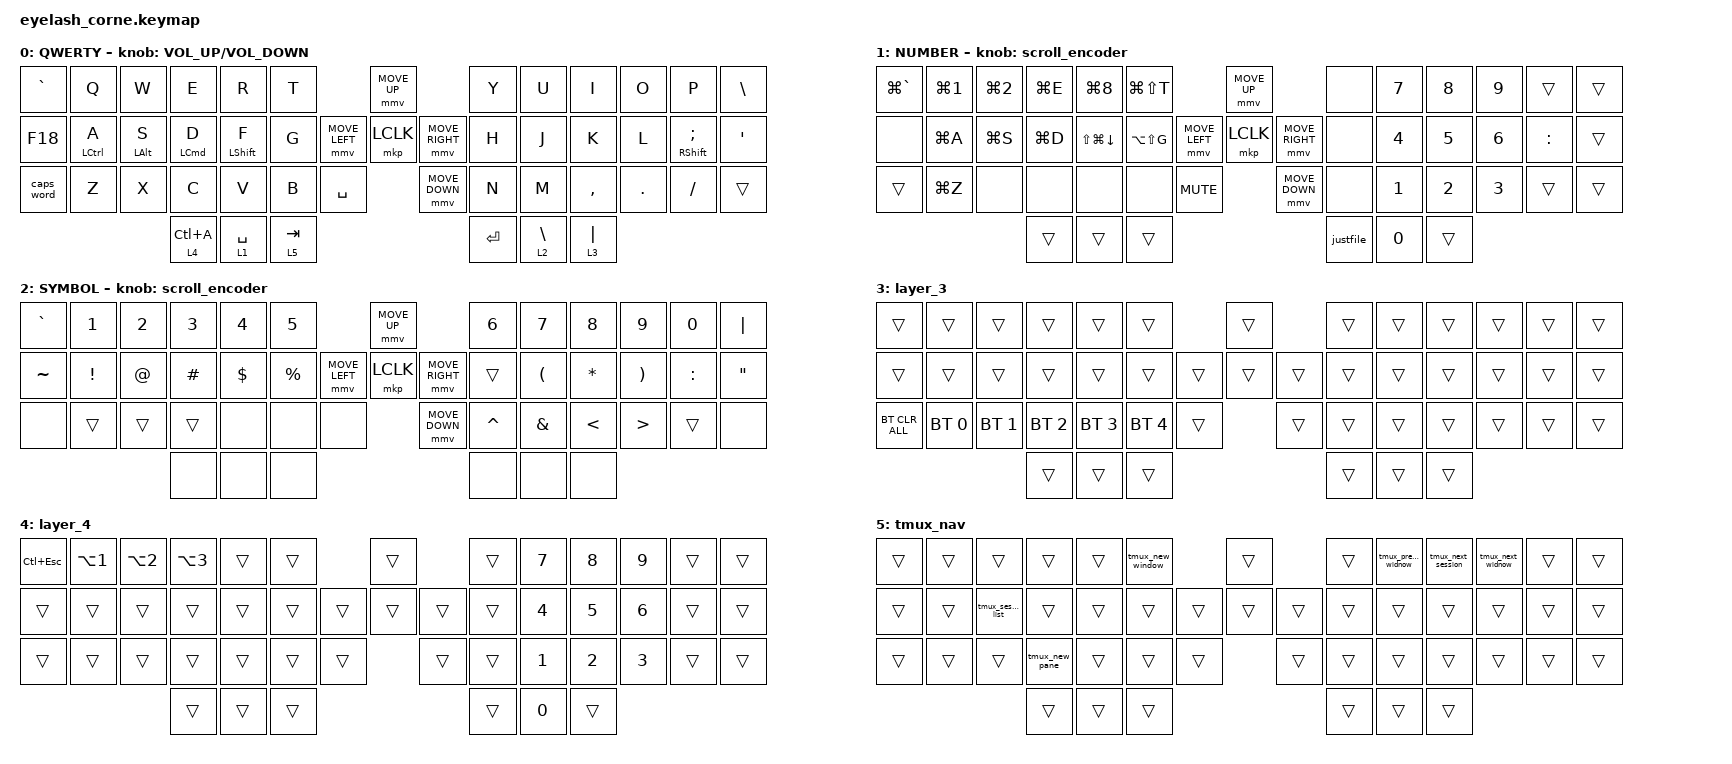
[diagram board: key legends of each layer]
#define ZMK_POINTING_DEFAULT_MOVE_VAL 1200  // 600
#define ZMK_POINTING_DEFAULT_SCRL_VAL 25   // 10

#include <input/processors.dtsi>
#include <zephyr/dt-bindings/input/input-event-codes.h>
#include <behaviors.dtsi>
#include <dt-bindings/zmk/bt.h>
#include <dt-bindings/zmk/keys.h>
#include <dt-bindings/zmk/pointing.h>
#include <dt-bindings/zmk/rgb.h>

&mmv_input_listener { input-processors = <&zip_xy_scaler 2 1>; };

&msc_input_listener { input-processors = <&zip_scroll_scaler 2 1>; };

&msc {
    acceleration-exponent = <1>;      // 0
    time-to-max-speed-ms = <100>;       // 300
    delay-ms = <0>;                   // 0
};

&mmv {
    time-to-max-speed-ms = <500>;
    acceleration-exponent = <1>;
    trigger-period-ms = <16>;
};

&soft_off { hold-time-ms = <2000>; };

/ {
    behaviors {
        td0: td0 {
            compatible = "zmk,behavior-tap-dance";
            display-name = "Shift/Caps Lock Tap Dance";
            #binding-cells = <0>;
            bindings = <&kp LEFT_SHIFT>, <&kp CAPS>;
        };

        homerow: homerow {
            compatible = "zmk,behavior-hold-tap";
            label = "HOMEROW";
            bindings = <&kp>, <&kp>;

            #binding-cells = <2>;
            tapping-term-ms = <180>;
            quick-tap-ms = <130>;
            flavor = "tap-preferred";
        };

        OSM_shift: OSM_shift {
            compatible = "zmk,behavior-sticky-key";
            label = "OSM_SHIFT";
            bindings = <&kp>;
            #binding-cells = <1>;
            release-after-ms = <200>;
            quick-release;
        };

        hold_tab: hold_tab {
            compatible = "zmk,behavior-hold-tap";
            label = "HOLD_TAB";
            bindings = <&kp>, <&caps_word>;

            #binding-cells = <2>;
            tapping-term-ms = <200>;
        };

        homerow_RShift: homerow_RShift {
            compatible = "zmk,behavior-hold-tap";
            label = "HOMEROW_RSHIFT";
            bindings = <&kp>, <&kp>;

            #binding-cells = <2>;
            tapping-term-ms = <115>;
        };

        LT_LANG_FAST: LT_LANG_FAST {
            compatible = "zmk,behavior-hold-tap";
            label = "LT_LANG_FAST";
            bindings = <&mo>, <&kp>;

            #binding-cells = <2>;
            tapping-term-ms = <160>;
            quick-tap-ms = <120>;
            flavor = "hold-preferred";
        };

        homerow_LShift: homerow_LShift {
            compatible = "zmk,behavior-hold-tap";
            label = "HOMEROW_LSHIFT";
            bindings = <&kp>, <&kp>;

            #binding-cells = <2>;
            tapping-term-ms = <145>;
            flavor = "tap-preferred";
        };

        homerow_LCtrl: homerow_LCtrl {
            compatible = "zmk,behavior-hold-tap";
            label = "HOMEROW_LCTRL";
            bindings = <&kp>, <&kp>;

            #binding-cells = <2>;
            tapping-term-ms = <200>;
            flavor = "tap-preferred";
            quick-tap-ms = <130>;
        };

        Lshift_caps_word: Lshift_caps_word {
            compatible = "zmk,behavior-hold-tap";
            label = "LSHIFT_CAPS_WORD";
            bindings = <&kp>, <&caps_word>;

            #binding-cells = <2>;
            tapping-term-ms = <160>;
        };

        /* 더블탭일 때만 Sticky Shift 토글, 싱글탭은 무시 */
        // 탭: td_shift_latch, 홀드: LSHIFT  ← 한 묶음 안에 두 개!
    };

    rgb_encoder: rgb_encoder {
        compatible = "zmk,behavior-sensor-rotate";
        #sensor-binding-cells = <0>;
        bindings = <&rgb_ug RGB_BRI>, <&rgb_ug RGB_BRD>;
    };

    scroll_encoder: scroll_encoder {
        compatible = "zmk,behavior-sensor-rotate";
        #sensor-binding-cells = <0>;
        bindings = <&msc SCRL_DOWN>, <&msc SCRL_UP>;

        tap-ms = <100>;
    };

    combos {
        compatible = "zmk,combos";

        Backspace {
            bindings = <&kp BACKSPACE>;
            key-positions = <23 24>;
        };

        minus {
            bindings = <&kp MINUS>;
            key-positions = <23 9>;
        };

        equal {
            bindings = <&kp EQUAL>;
            key-positions = <23 10>;
        };

        cut {
            bindings = <&kp LG(X)>;
            key-positions = <29 30>;
        };

        Copy {
            bindings = <&kp LG(C)>;
            key-positions = <30 31>;
        };

        Past {
            bindings = <&kp LG(V)>;
            key-positions = <31 32>;
        };

        left_parenthesis {
            bindings = <&kp LEFT_BRACKET>;
            key-positions = <8 9>;
            timeout-ms = <25>;
        };

        right_parenthesis {
            bindings = <&kp RIGHT_BRACKET>;
            key-positions = <9 10>;
            timeout-ms = <20>;
        };

        Question_mark {
            bindings = <&kp QUESTION>;
            key-positions = <38 39>;
        };

        Esc {
            bindings = <&kp ESCAPE>;
            key-positions = <24 25>;
            layers = <0>;
        };

        prefix+a {
            bindings = <&kp LC(A)>;
            key-positions = <14 15>;
        };

        Quote {
            bindings = <&kp DOUBLE_QUOTES>;
            key-positions = <25 26>;
        };

        Underscore {
            bindings = <&kp UNDERSCORE>;
            key-positions = <37 24>;
        };

        plus {
            bindings = <&kp PLUS>;
            key-positions = <23 25>;
        };

        f18 {
            bindings = <&kp F18>;
            key-positions = <37 38>;
        };
    };

    macros {
        tmux_next_widnow: tmux_next_widnow {
            compatible = "zmk,behavior-macro";
            #binding-cells = <0>;
            bindings = <&kp LC(A) &kp N>;
            label = "TMUX_NEXT_WIDNOW";
        };

        tmux_previous_widnow: tmux_previous_widnow {
            compatible = "zmk,behavior-macro";
            #binding-cells = <0>;
            bindings = <&kp LC(A) &kp P>;
            label = "TMUX_PREVIOUS_WIDNOW";
        };

        tmux_session_list: tmux_session_list {
            compatible = "zmk,behavior-macro";
            #binding-cells = <0>;
            bindings = <&kp LC(A) &kp S>;
            label = "TMUX_SESSION_LIST";
        };

        justfile: justfile {
            compatible = "zmk,behavior-macro";
            #binding-cells = <0>;
            bindings = <&kp J &kp ENTER>;
            label = "JUSTFILE";
        };

        tmux_new_pane: tmux_new_pane {
            compatible = "zmk,behavior-macro";
            #binding-cells = <0>;
            bindings = <&kp LC(A) &kp C>;
            label = "TMUX_NEW_PANE";
        };

        tmux_new_window: tmux_new_window {
            compatible = "zmk,behavior-macro";
            #binding-cells = <0>;
            bindings = <&kp LC(A) &kp T>;
            label = "TMUX_NEW_WINDOW";
        };

        tmux_next_session: tmux_next_session {
            compatible = "zmk,behavior-macro";
            #binding-cells = <0>;
            bindings = <&kp LC(A) &kp RIGHT_PARENTHESIS>;
            label = "TMUX_NEXT_SESSION";
        };
    };

    keymap {
        compatible = "zmk,keymap";

        default_layer {
            display-name = "QWERTY";
            bindings = <
&kp GRAVE   &kp Q                   &kp W                &kp E                    &kp R                         &kp T                                   &mmv MOVE_UP                     &kp Y      &kp U                      &kp I       &kp O    &kp P                                  &kp BACKSLASH
&kp F18     &homerow_LCtrl LCTRL A  &homerow LEFT_ALT S  &homerow LEFT_COMMAND D  &homerow_LShift LEFT_SHIFT F  &kp G                   &mmv MOVE_LEFT  &mkp LCLK       &mmv MOVE_RIGHT  &kp H      &kp J                      &kp K       &kp L    &homerow_RShift RIGHT_SHIFT SEMICOLON  &kp SQT
&caps_word  &kp Z                   &kp X                &kp C                    &kp V                         &kp B      &kp SPACE                    &mmv MOVE_DOWN                   &kp N      &kp M                      &kp COMMA   &kp DOT  &kp FSLH                               &trans
                                                         &lt 4 LC(A)              &lt 1 SPACE                   &lt 5 TAB                                                                &kp ENTER  &LT_LANG_FAST 2 BACKSLASH  &lt 3 PIPE
            >;

            sensor-bindings = <&inc_dec_kp C_VOLUME_UP C_VOLUME_DOWN>;
        };

        lower_layer {
            display-name = "NUMBER";
            bindings = <
&kp LG(GRAVE)  &kp LG(NUMBER_1)  &kp LG(N2)  &kp LG(E)  &kp LG(NUMBER_8)        &kp LG(LS(T))                                &mmv MOVE_UP                     &none      &kp NUMBER_7  &kp NUMBER_8  &kp NUMBER_9  &trans     &trans
&none          &kp LG(A)         &kp LG(S)   &kp LG(D)  &kp LS(LG(DOWN_ARROW))  &kp LA(LS(G))                &mmv MOVE_LEFT  &mkp LCLK       &mmv MOVE_RIGHT  &none      &kp NUMBER_4  &kp NUMBER_5  &kp NUMBER_6  &kp COLON  &trans
&trans         &kp LG(Z)         &none       &none      &none                   &none          &kp C_MUTE                    &mmv MOVE_DOWN                   &none      &kp NUMBER_1  &kp NUMBER_2  &kp NUMBER_3  &trans     &trans
                                             &trans     &trans                  &trans                                                                        &justfile  &kp N0        &trans
            >;

            sensor-bindings = <&scroll_encoder>;
        };

        raise_layer {
            display-name = "SYMBOL";
            bindings = <
&kp GRAVE  &kp NUMBER_1     &kp NUMBER_2  &kp NUMBER_3  &kp NUMBER_4  &kp N5                                &mmv MOVE_UP                     &kp NUMBER_6  &kp N7                &kp N8         &kp N9                 &kp NUMBER_0  &kp PIPE
&kp TILDE  &kp EXCLAMATION  &kp AT_SIGN   &kp HASH      &kp DOLLAR    &kp PERCENT           &mmv MOVE_LEFT  &mkp LCLK       &mmv MOVE_RIGHT  &trans        &kp LEFT_PARENTHESIS  &kp ASTERISK   &kp RIGHT_PARENTHESIS  &kp COLON     &kp DOUBLE_QUOTES
&none      &trans           &trans        &trans        &none         &none        &none                    &mmv MOVE_DOWN                   &kp CARET     &kp AMPERSAND         &kp LESS_THAN  &kp GREATER_THAN       &trans        &none
                                          &none         &none         &none                                                                  &none         &none                 &none
            >;

            sensor-bindings = <&scroll_encoder>;
        };

        layer_3 {
            bindings = <
&trans          &trans        &trans        &trans        &trans        &trans                          &trans          &trans  &trans  &trans  &trans  &trans  &trans
&trans          &trans        &trans        &trans        &trans        &trans                  &trans  &trans  &trans  &trans  &trans  &trans  &trans  &trans  &trans
&bt BT_CLR_ALL  &bt BT_SEL 0  &bt BT_SEL 1  &bt BT_SEL 2  &bt BT_SEL 3  &bt BT_SEL 4  &trans            &trans          &trans  &trans  &trans  &trans  &trans  &trans
                                            &trans        &trans        &trans                                          &trans  &trans  &trans
            >;
        };

        layer_4 {
            bindings = <
&kp LC(ESC)  &kp LA(NUMBER_1)  &kp LA(NUMBER_2)  &kp LA(NUMBER_3)  &trans  &trans                    &trans          &trans  &kp N7        &kp N8        &kp N9        &trans  &trans
&trans       &trans            &trans            &trans            &trans  &trans            &trans  &trans  &trans  &trans  &kp NUMBER_4  &kp N5        &kp NUMBER_6  &trans  &trans
&trans       &trans            &trans            &trans            &trans  &trans  &trans            &trans          &trans  &kp NUMBER_1  &kp NUMBER_2  &kp NUMBER_3  &trans  &trans
                                                 &trans            &trans  &trans                                    &trans  &kp N0        &trans
            >;
        };

        tmux_nav {
            bindings = <
&trans  &trans  &trans              &trans          &trans  &tmux_new_window                    &trans          &trans  &tmux_previous_widnow  &tmux_next_session  &tmux_next_widnow  &trans  &trans
&trans  &trans  &tmux_session_list  &trans          &trans  &trans                      &trans  &trans  &trans  &trans  &trans                 &trans              &trans             &trans  &trans
&trans  &trans  &trans              &tmux_new_pane  &trans  &trans            &trans            &trans          &trans  &trans                 &trans              &trans             &trans  &trans
                                    &trans          &trans  &trans                                              &trans  &trans                 &trans
            >;
        };
    };
};
